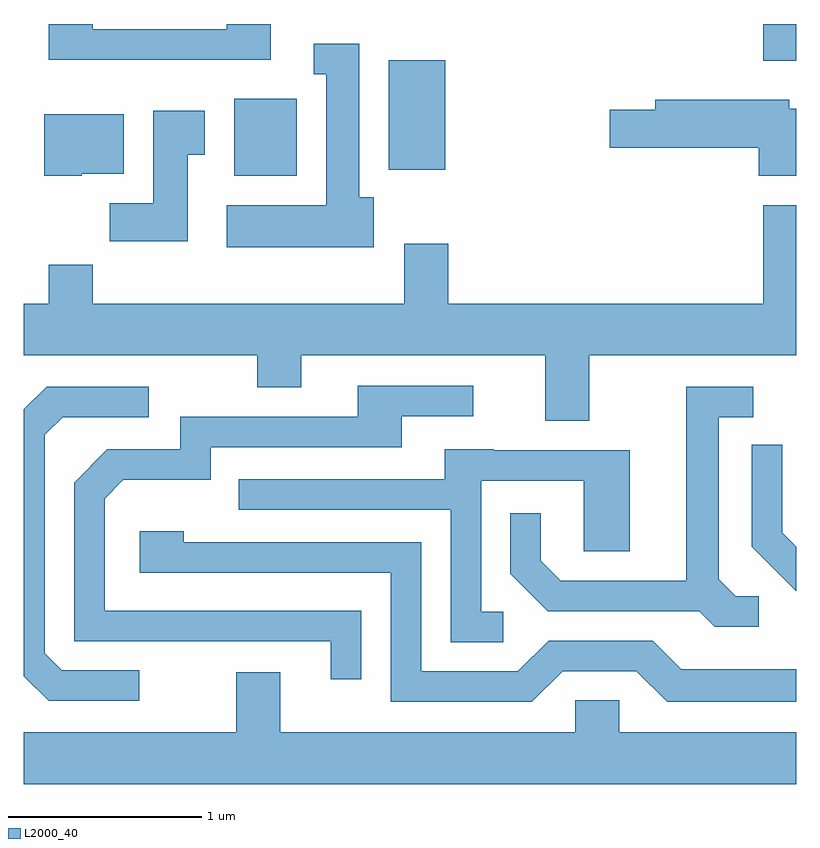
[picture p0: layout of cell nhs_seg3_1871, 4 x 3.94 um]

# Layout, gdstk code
import gdstk
lib = gdstk.Library(unit=1e-6, precision=1e-09)
def R(c, l, rs):  # rectangles x0, y0, x1, y1
    for r in rs: c.add(gdstk.rectangle(r[:2], r[2:], *l))
def P(c, l, *ps):  # polygons
    for p in ps: c.add(gdstk.Polygon(p, *l))
L2000_40 = (2000, 40)

nhs_seg3_1871 = lib.new_cell('nhs_seg3_1871')
R(nhs_seg3_1871, L2000_40, [(240.701,1189.106,241.024,1189.504), (241.501,1189.136,241.794,1189.704), (243.441,1189.701,243.611,1189.892)])
P(nhs_seg3_1871, L2000_40, [(240.889,1189.892),(240.661,1189.892),(240.661,1189.864),(239.969,1189.864),(239.969,1189.892),(239.741,1189.892),(239.741,1189.706),(240.889,1189.706)],
  [(241.424,1188.994),(241.349,1188.994),(241.349,1189.789),(241.113,1189.789),(241.113,1189.631),(241.176,1189.631),(241.176,1188.954),(240.661,1188.954),(240.661,1188.736),(241.424,1188.736)],
  [(243.611,1189.454),(243.574,1189.454),(243.574,1189.499),(242.881,1189.499),(242.881,1189.449),(242.646,1189.449),(242.646,1189.251),(243.416,1189.251),(243.416,1189.106),(243.611,1189.106)],
  [(240.459,1189.216),(240.549,1189.216),(240.549,1189.444),(240.281,1189.444),(240.281,1188.964),(240.056,1188.964),(240.056,1188.766),(240.459,1188.766)],
  [(239.91,1189.116),(240.129,1189.116),(240.129,1189.424),(239.716,1189.424),(239.716,1189.106),(239.91,1189.106)],
  [(242.539,1188.176),(243.611,1188.176),(243.611,1188.954),(243.441,1188.954),(243.441,1188.444),(241.809,1188.444),(241.809,1188.754),(241.581,1188.754),(241.581,1188.444),(239.969,1188.444),(239.969,1188.644),(239.741,1188.644),(239.741,1188.444),(239.611,1188.444),(239.611,1188.176),(240.821,1188.176),(240.821,1188.011),(241.049,1188.011),(241.049,1188.176),(242.311,1188.176),(242.311,1187.836),(242.539,1187.836)],
  [(241.359,1186.854),(240.029,1186.854),(240.029,1187.434),(240.127,1187.531),(240.579,1187.531),(240.579,1187.701),(241.569,1187.701),(241.569,1187.861),(241.938,1187.861),(241.938,1188.019),(241.341,1188.019),(241.341,1187.859),(240.421,1187.859),(240.421,1187.689),(240.044,1187.689),(239.871,1187.517),(239.871,1186.696),(241.201,1186.696),(241.201,1186.498),(241.359,1186.498)],
  [(240.208,1186.544),(239.807,1186.544),(239.719,1186.632),(239.719,1187.764),(239.812,1187.856),(240.258,1187.856),(240.258,1188.014),(239.729,1188.014),(239.611,1187.897),(239.611,1186.514),(239.739,1186.386),(240.208,1186.386)],
  [(243.418,1186.929),(243.297,1186.929),(243.209,1187.017),(243.209,1187.856),(243.388,1187.856),(243.388,1188.014),(243.041,1188.014),(243.041,1187.009),(242.392,1187.009),(242.289,1187.112),(242.289,1187.358),(242.131,1187.358),(242.131,1187.044),(242.324,1186.851),(243.109,1186.851),(243.189,1186.771),(243.418,1186.771)],
  [(243.611,1187.185),(243.539,1187.257),(243.539,1187.713),(243.381,1187.713),(243.381,1187.184),(243.611,1186.954)],
  [(242.093,1186.849),(241.979,1186.849),(241.979,1187.526),(242.511,1187.526),(242.511,1187.161),(242.749,1187.161),(242.749,1187.684),(242.045,1187.684),(242.045,1187.689),(241.791,1187.689),(241.791,1187.534),(240.723,1187.534),(240.723,1187.376),(241.821,1187.376),(241.821,1186.691),(242.093,1186.691)],
  [(242.402,1186.541),(242.784,1186.541),(242.944,1186.381),(243.611,1186.381),(243.611,1186.549),(243.017,1186.549),(242.867,1186.699),(242.329,1186.699),(242.169,1186.539),(241.669,1186.539),(241.669,1187.209),(240.439,1187.209),(240.439,1187.264),(240.211,1187.264),(240.211,1187.051),(241.511,1187.051),(241.511,1186.381),(242.242,1186.381)],
  [(242.466,1186.389),(242.466,1186.224),(240.939,1186.224),(240.939,1186.534),(240.711,1186.534),(240.711,1186.224),(239.611,1186.224),(239.611,1185.956),(243.611,1185.956),(243.611,1186.224),(242.694,1186.224),(242.694,1186.389)])

lib.write_gds('nhs_seg3_1871.gds')
